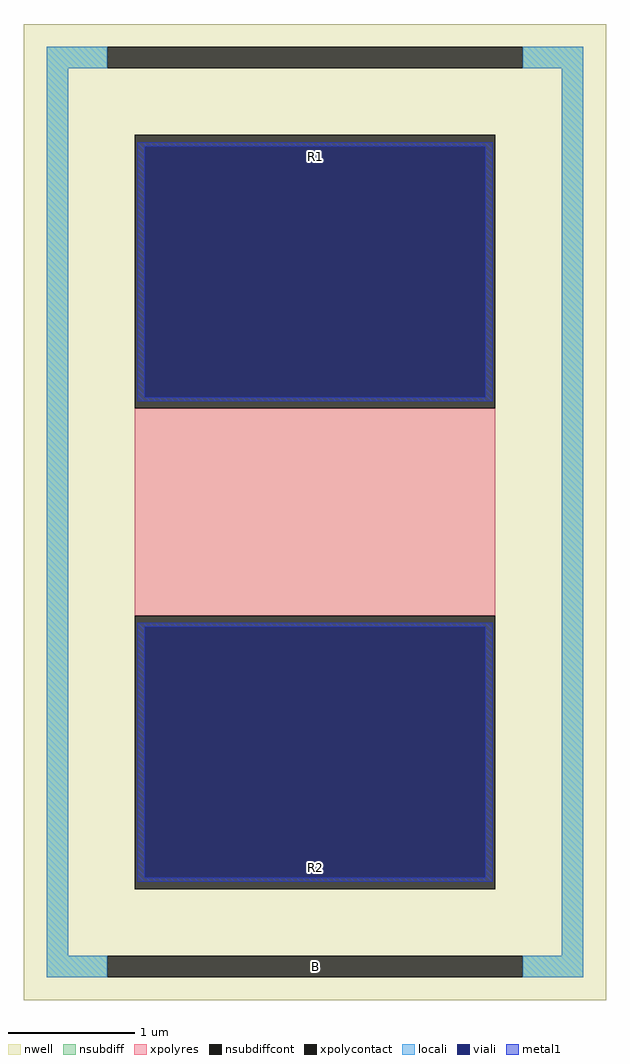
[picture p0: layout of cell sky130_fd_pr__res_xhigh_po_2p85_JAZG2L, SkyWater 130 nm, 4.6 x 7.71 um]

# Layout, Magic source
magic
tech sky130A
magscale 1 2
<< nwell >>
rect -460 -771 460 771
<< nsubdiff >>
rect -424 701 -328 735
rect 328 701 424 735
rect -424 -701 -390 701
rect 390 -701 424 701
rect -424 -735 -328 -701
rect 328 -735 424 -701
<< nsubdiffcont >>
rect -328 701 328 735
rect -328 -735 328 -701
<< xpolycontact >>
rect -285 164 285 596
rect -285 -596 285 -164
<< xpolyres >>
rect -285 -164 285 164
<< locali >>
rect -424 701 -328 735
rect 328 701 424 735
rect -424 -701 -390 701
rect 390 -701 424 701
rect -424 -735 -328 -701
rect 328 -735 424 -701
<< viali >>
rect -269 181 269 578
rect -269 -578 269 -181
<< metal1 >>
rect -281 578 281 584
rect -281 181 -269 578
rect 269 181 281 578
rect -281 175 281 181
rect -281 -181 281 -175
rect -281 -578 -269 -181
rect 269 -578 281 -181
rect -281 -584 281 -578
<< labels >>
rlabel nsubdiffcont 0 -718 0 -718 0 B
port 1 nsew
rlabel xpolycontact 0 561 0 561 0 R1
port 2 nsew
rlabel xpolycontact 0 -561 0 -561 0 R2
port 3 nsew
<< properties >>
string FIXED_BBOX -407 -718 407 718
string gencell sky130_fd_pr__res_xhigh_po_2p85
string library sky130
string parameters w 2.850 l 1.8 m 1 nx 1 wmin 2.850 lmin 0.50 class resistor rho 2000 val 1.395k dummy 0 dw 0.0 term 188.2 sterm 0.0 caplen 0 wmax 2.850 guard 1 glc 0 grc 0 gtc 1 gbc 1 compatible {sky130_fd_pr__res_xhigh_po_0p35  sky130_fd_pr__res_xhigh_po_0p69 sky130_fd_pr__res_xhigh_po_1p41  sky130_fd_pr__res_xhigh_po_2p85 sky130_fd_pr__res_xhigh_po_5p73} snake 0 full_metal 1 n_guard 1 hv_guard 0 vias 1 viagb 0 viagt 0 viagl 0 viagr 0 doports 1
<< end >>
